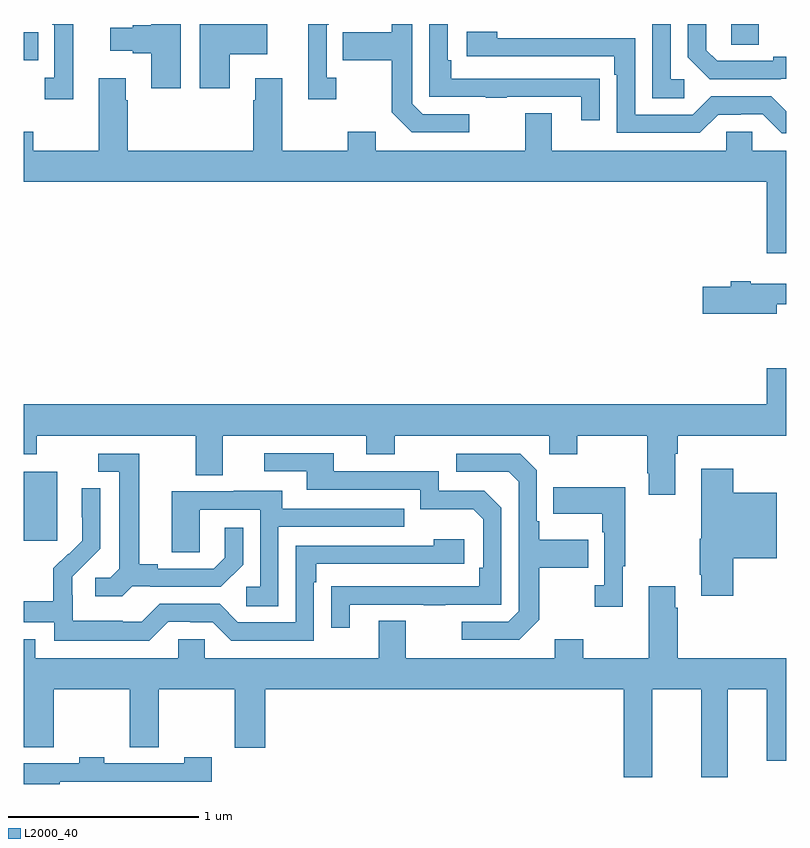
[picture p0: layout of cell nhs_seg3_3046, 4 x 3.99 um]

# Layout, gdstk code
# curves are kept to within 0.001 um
import gdstk
lib = gdstk.Library(unit=1e-6, precision=1e-09)
def R(c, l, rs):  # rectangles x0, y0, x1, y1
    for r in rs: c.add(gdstk.rectangle(r[:2], r[2:], *l))
def P(c, l, *ps):  # polygons
    for p in ps: c.add(gdstk.Polygon(p, *l))
L2000_40 = (2000, 40)

nhs_seg3_3046 = lib.new_cell('nhs_seg3_3046')
R(nhs_seg3_3046, L2000_40, [(269,709.689,269.176,710.05), (269,712.21,269.075,712.357), (272.712,712.291,272.857,712.4)])
P(nhs_seg3_3046, L2000_40, [(270.079,712.241),(270.277,712.241),(270.277,712.399),(270.079,712.399),(270.079,712.4),(269.924,712.4),(269.924,712.062),(270.079,712.062)],
  [(272.972,712.113),(273,712.113),(273,712.229),(272.933,712.229),(272.933,712.206),(272.638,712.206),(272.581,712.263),(272.581,712.4),(272.484,712.4),(272.484,712.226),(272.6,712.11),(272.972,712.11)],
  [(271.336,711.927),(271.092,711.927),(271.038,711.981),(271.038,712.4),(270.93,712.4),(270.93,712.357),(270.673,712.357),(270.673,712.21),(270.93,712.21),(270.93,711.937),(271.035,711.831),(271.336,711.831)],
  [(272.021,712.112),(271.919,712.112),(271.919,712.113),(271.244,712.113),(271.244,712.21),(271.224,712.21),(271.224,712.4),(271.128,712.4),(271.128,712.017),(271.423,712.017),(271.423,712.012),(271.535,712.012),(271.535,712.017),(271.925,712.017),(271.925,711.894),(272.021,711.894)],
  [(269.824,712.4),(269.669,712.4),(269.669,712.394),(269.57,712.394),(269.57,712.381),(269.454,712.381),(269.454,712.259),(269.57,712.259),(269.57,712.247),(269.669,712.247),(269.669,712.062),(269.824,712.062)],
  [(270.64,712.118),(270.588,712.118),(270.588,712.397),(270.601,712.397),(270.601,712.4),(270.491,712.4),(270.491,712.005),(270.64,712.005)],
  [(269.258,712.4),(269.148,712.4),(269.148,712.397),(269.16,712.397),(269.16,712.118),(269.109,712.118),(269.109,712.005),(269.258,712.005)],
  [(272.467,712.11),(272.394,712.11),(272.394,712.4),(272.298,712.4),(272.298,712.009),(272.467,712.009)],
  [(273,711.942),(272.922,712.02),(272.607,712.02),(272.511,711.924),(272.208,711.924),(272.208,712.326),(271.484,712.326),(271.484,712.36),(271.323,712.36),(271.323,712.23),(272.099,712.23),(272.099,712.133),(272.112,712.133),(272.112,711.828),(272.547,711.828),(272.643,711.924),(272.762,711.924),(272.762,711.927),(272.877,711.927),(272.977,711.827),(273,711.827)],
  [(273,711.736),(272.823,711.736),(272.823,711.834),(272.685,711.834),(272.685,711.736),(271.771,711.736),(271.771,711.931),(271.631,711.931),(271.631,711.736),(270.847,711.736),(270.847,711.835),(270.7,711.835),(270.7,711.736),(270.355,711.736),(270.355,712.114),(270.215,712.114),(270.215,712.001),(270.203,712.001),(270.203,711.736),(269.546,711.736),(269.546,712.001),(269.533,712.001),(269.533,712.114),(269.393,712.114),(269.393,711.736),(269.049,711.736),(269.049,711.835),(269,711.835),(269,711.572),(272.9,711.572),(272.9,711.198),(273,711.198)],
  [(272.95,710.928),(273,710.928),(273,711.037),(272.815,711.037),(272.815,711.05),(272.711,711.05),(272.711,711.02),(272.562,711.02),(272.562,710.878),(272.95,710.878)],
  [(272.419,710.144),(272.432,710.144),(272.432,710.24),(273,710.24),(273,710.593),(272.9,710.593),(272.9,710.404),(269,710.404),(269,710.141),(269.067,710.141),(269.067,710.24),(269.903,710.24),(269.903,710.032),(270.043,710.032),(270.043,710.24),(270.797,710.24),(270.797,710.141),(270.945,710.141),(270.945,710.24),(271.758,710.24),(271.758,710.141),(271.905,710.141),(271.905,710.24),(272.272,710.24),(272.272,710.041),(272.279,710.041),(272.279,709.929),(272.419,709.929)],
  [(270.709,709.353),(271.099,709.353),(271.099,709.348),(271.211,709.348),(271.211,709.353),(271.506,709.353),(271.506,709.86),(271.416,709.95),(271.176,709.95),(271.176,710.052),(270.625,710.052),(270.625,710.148),(270.261,710.148),(270.261,710.052),(270.485,710.052),(270.485,709.956),(271.08,709.956),(271.08,709.853),(271.357,709.853),(271.41,709.8),(271.41,709.546),(271.39,709.546),(271.39,709.449),(270.613,709.448),(270.613,709.23),(270.709,709.23)],
  [(269.568,709.449),(269.662,709.449),(269.662,709.446),(270.034,709.446),(270.15,709.562),(270.15,709.756),(270.053,709.756),(270.053,709.599),(269.996,709.542),(269.701,709.542),(269.701,709.565),(269.605,709.565),(269.605,710.145),(269.391,710.145),(269.391,710.049),(269.501,710.049),(269.501,709.541),(269.454,709.494),(269.373,709.494),(269.373,709.397),(269.516,709.397)],
  [(271.705,709.273),(271.705,709.546),(271.961,709.546),(271.961,709.693),(271.705,709.693),(271.705,709.789),(271.692,709.789),(271.692,710.058),(271.605,710.145),(271.269,710.145),(271.269,710.049),(271.545,710.049),(271.596,709.998),(271.596,709.317),(271.542,709.263),(271.299,709.263),(271.299,709.167),(271.599,709.167)],
  [(272.723,709.595),(272.95,709.595),(272.95,709.939),(272.723,709.939),(272.723,710.065),(272.555,710.065),(272.555,709.699),(272.548,709.699),(272.548,709.51),(272.555,709.51),(272.555,709.398),(272.723,709.398)],
  [(272.143,709.553),(272.155,709.553),(272.155,709.969),(271.777,709.969),(271.777,709.829),(272.034,709.829),(272.034,709.733),(272.046,709.733),(272.046,709.454),(271.995,709.454),(271.995,709.341),(272.143,709.341)],
  [(269.757,709.263),(269.873,709.263),(269.873,709.26),(269.991,709.26),(270.087,709.164),(270.522,709.164),(270.522,709.469),(270.535,709.469),(270.535,709.566),(271.312,709.566),(271.312,709.696),(271.151,709.696),(271.151,709.662),(270.426,709.662),(270.426,709.26),(270.123,709.26),(270.027,709.356),(269.712,709.356),(269.619,709.263),(269.519,709.263),(269.519,709.267),(269.256,709.267),(269.256,709.401),(269.254,709.401),(269.254,709.498),(269.4,709.646),(269.4,709.964),(269.304,709.964),(269.304,709.81),(269.306,709.81),(269.306,709.688),(269.235,709.617),(269.232,709.62),(269.155,709.543),(269.155,709.369),(269,709.369),(269,709.26),(269.16,709.26),(269.16,709.163),(269.657,709.163)],
  [(270.336,709.761),(270.995,709.761),(270.995,709.857),(270.355,709.857),(270.355,709.951),(270.101,709.951),(270.101,709.947),(269.777,709.947),(269.777,709.627),(269.922,709.627),(269.922,709.851),(270.24,709.851),(270.24,709.446),(270.168,709.446),(270.168,709.345),(270.336,709.345)],
  [(272.299,708.908),(272.555,708.908),(272.555,708.447),(272.695,708.447),(272.695,708.908),(272.9,708.908),(272.9,708.534),(273,708.534),(273,709.072),(272.432,709.072),(272.432,709.337),(272.419,709.337),(272.419,709.45),(272.279,709.45),(272.279,709.072),(271.935,709.072),(271.935,709.171),(271.787,709.171),(271.787,709.072),(271.003,709.072),(271.003,709.267),(270.863,709.267),(270.863,709.072),(269.949,709.072),(269.949,709.17),(269.811,709.17),(269.811,709.072),(269.059,709.072),(269.059,709.171),(269,709.171),(269,708.604),(269.156,708.604),(269.156,708.908),(269.554,708.908),(269.554,708.604),(269.708,708.604),(269.708,708.908),(270.106,708.908),(270.106,708.6),(270.266,708.6),(270.266,708.908),(272.147,708.908),(272.147,708.447),(272.299,708.447)],
  [(269.189,708.423),(269.986,708.423),(269.986,708.552),(269.841,708.552),(269.841,708.519),(269.421,708.519),(269.421,708.552),(269.289,708.552),(269.289,708.519),(269,708.519),(269,708.411),(269.189,708.411)])

lib.write_gds('nhs_seg3_3046.gds')
